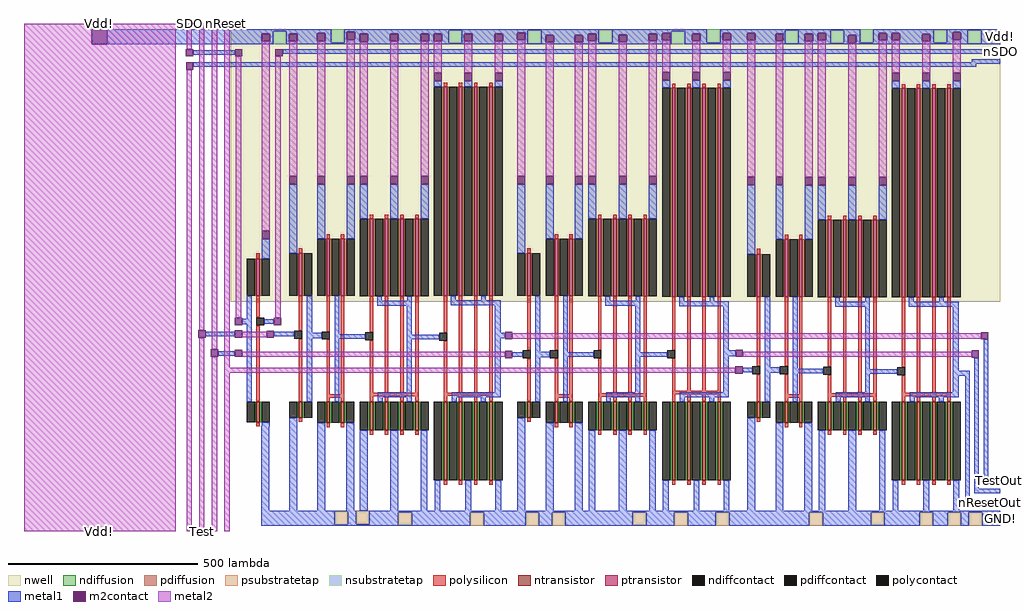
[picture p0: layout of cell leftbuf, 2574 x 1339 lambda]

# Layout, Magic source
magic
tech tsmc180
<< nwell >>
rect 545 605 2574 1324
<< polysilicon >>
rect 1107 1172 1116 1183
rect 1147 1172 1156 1183
rect 1187 1172 1196 1183
rect 1227 1172 1236 1183
rect 912 824 921 835
rect 952 824 961 835
rect 992 824 1001 835
rect 1032 824 1041 835
rect 798 772 807 784
rect 836 772 845 784
rect 725 733 734 747
rect 613 719 622 733
rect 613 564 622 621
rect 613 342 622 543
rect 725 529 734 621
rect 798 527 807 621
rect 725 342 734 508
rect 798 361 807 506
rect 836 361 845 621
rect 1709 1170 1718 1181
rect 1749 1170 1758 1181
rect 1789 1170 1798 1181
rect 1829 1170 1838 1181
rect 1514 824 1523 835
rect 1554 824 1563 835
rect 1594 824 1603 835
rect 1634 824 1643 835
rect 1400 772 1409 784
rect 1438 772 1447 784
rect 1327 733 1336 747
rect 912 525 921 620
rect 798 352 845 361
rect 798 342 807 352
rect 836 342 845 352
rect 912 365 921 504
rect 952 365 961 620
rect 992 365 1001 620
rect 1032 365 1041 620
rect 1107 524 1116 621
rect 912 356 1041 365
rect 912 342 921 356
rect 952 342 961 356
rect 992 342 1001 356
rect 1032 342 1041 356
rect 1107 366 1116 503
rect 1147 366 1156 621
rect 1187 366 1196 621
rect 1227 366 1236 621
rect 1327 477 1336 621
rect 1400 477 1409 621
rect 1107 357 1236 366
rect 1107 342 1116 357
rect 1147 342 1156 357
rect 1187 342 1196 357
rect 1227 342 1236 357
rect 1327 342 1336 456
rect 1400 361 1409 456
rect 1438 361 1447 621
rect 1514 477 1523 620
rect 1400 352 1447 361
rect 1400 342 1409 352
rect 1438 342 1447 352
rect 1514 364 1523 456
rect 1554 364 1563 620
rect 1594 364 1603 620
rect 1634 364 1643 620
rect 2315 1168 2324 1179
rect 2355 1168 2364 1179
rect 2395 1168 2404 1179
rect 2435 1168 2444 1179
rect 2120 822 2129 833
rect 2160 822 2169 833
rect 2200 822 2209 833
rect 2240 822 2249 833
rect 2006 770 2015 782
rect 2044 770 2053 782
rect 1933 731 1942 745
rect 1709 478 1718 619
rect 1514 355 1643 364
rect 1514 342 1523 355
rect 1554 342 1563 355
rect 1594 342 1603 355
rect 1634 342 1643 355
rect 1709 371 1718 457
rect 1749 371 1758 619
rect 1789 371 1798 619
rect 1829 371 1838 619
rect 1933 436 1942 619
rect 2006 436 2015 619
rect 1709 362 1838 371
rect 1709 342 1718 362
rect 1749 342 1758 362
rect 1789 342 1798 362
rect 1829 342 1838 362
rect 1933 342 1942 415
rect 2006 361 2015 415
rect 2044 361 2053 619
rect 2120 434 2129 618
rect 2006 352 2053 361
rect 2006 342 2015 352
rect 2044 342 2053 352
rect 2120 364 2129 413
rect 2160 364 2169 618
rect 2200 364 2209 618
rect 2240 364 2249 618
rect 2315 433 2324 617
rect 2120 355 2249 364
rect 2120 342 2129 355
rect 2160 342 2169 355
rect 2200 342 2209 355
rect 2240 342 2249 355
rect 2315 365 2324 412
rect 2355 365 2364 617
rect 2395 365 2404 617
rect 2435 365 2444 617
rect 2315 356 2444 365
rect 2315 342 2324 356
rect 2355 342 2364 356
rect 2395 342 2404 356
rect 2435 342 2444 356
rect 725 289 734 300
rect 613 277 622 288
rect 798 275 807 286
rect 836 275 845 286
rect 912 255 921 266
rect 952 255 961 266
rect 992 255 1001 266
rect 1032 255 1041 266
rect 1327 289 1336 300
rect 1400 275 1409 286
rect 1438 275 1447 286
rect 1514 255 1523 266
rect 1554 255 1563 266
rect 1594 255 1603 266
rect 1634 255 1643 266
rect 1933 289 1942 300
rect 2006 275 2015 286
rect 2044 275 2053 286
rect 2120 255 2129 266
rect 2160 255 2169 266
rect 2200 255 2209 266
rect 2240 255 2249 266
rect 1107 123 1116 135
rect 1147 123 1156 135
rect 1187 123 1196 135
rect 1227 123 1236 135
rect 1709 123 1718 135
rect 1749 123 1758 135
rect 1789 123 1798 135
rect 1829 123 1838 135
rect 2315 123 2324 135
rect 2355 123 2364 135
rect 2395 123 2404 135
rect 2435 123 2444 135
<< ndiffusion >>
rect 608 288 613 342
rect 622 288 627 342
rect 720 300 725 342
rect 734 300 739 342
rect 795 286 798 342
rect 807 286 811 342
rect 832 286 836 342
rect 845 286 850 342
rect 907 266 912 342
rect 921 266 926 342
rect 947 266 952 342
rect 961 266 966 342
rect 987 266 992 342
rect 1001 266 1006 342
rect 1027 266 1032 342
rect 1041 266 1046 342
rect 1102 135 1107 342
rect 1116 135 1121 342
rect 1142 135 1147 342
rect 1156 135 1161 342
rect 1182 135 1187 342
rect 1196 135 1201 342
rect 1222 135 1227 342
rect 1236 135 1241 342
rect 1322 300 1327 342
rect 1336 300 1341 342
rect 1397 286 1400 342
rect 1409 286 1413 342
rect 1434 286 1438 342
rect 1447 286 1452 342
rect 1509 266 1514 342
rect 1523 266 1528 342
rect 1549 266 1554 342
rect 1563 266 1568 342
rect 1589 266 1594 342
rect 1603 266 1608 342
rect 1629 266 1634 342
rect 1643 266 1648 342
rect 1704 135 1709 342
rect 1718 135 1723 342
rect 1744 135 1749 342
rect 1758 135 1763 342
rect 1784 135 1789 342
rect 1798 135 1803 342
rect 1824 135 1829 342
rect 1838 135 1843 342
rect 1928 300 1933 342
rect 1942 300 1947 342
rect 2003 286 2006 342
rect 2015 286 2019 342
rect 2040 286 2044 342
rect 2053 286 2058 342
rect 2115 266 2120 342
rect 2129 266 2134 342
rect 2155 266 2160 342
rect 2169 266 2174 342
rect 2195 266 2200 342
rect 2209 266 2214 342
rect 2235 266 2240 342
rect 2249 266 2254 342
rect 2310 135 2315 342
rect 2324 135 2329 342
rect 2350 135 2355 342
rect 2364 135 2369 342
rect 2390 135 2395 342
rect 2404 135 2409 342
rect 2430 135 2435 342
rect 2444 135 2449 342
<< pdiffusion >>
rect 608 621 613 719
rect 622 621 627 719
rect 720 621 725 733
rect 734 621 739 733
rect 795 621 798 772
rect 807 621 811 772
rect 832 621 836 772
rect 845 621 851 772
rect 907 620 912 824
rect 921 620 926 824
rect 947 620 952 824
rect 961 620 966 824
rect 987 620 992 824
rect 1001 620 1006 824
rect 1027 620 1032 824
rect 1041 620 1046 824
rect 1102 621 1107 1172
rect 1116 621 1121 1172
rect 1142 621 1147 1172
rect 1156 621 1161 1172
rect 1182 621 1187 1172
rect 1196 621 1201 1172
rect 1222 621 1227 1172
rect 1236 621 1241 1172
rect 1322 621 1327 733
rect 1336 621 1341 733
rect 1397 621 1400 772
rect 1409 621 1413 772
rect 1434 621 1438 772
rect 1447 621 1453 772
rect 1509 620 1514 824
rect 1523 620 1528 824
rect 1549 620 1554 824
rect 1563 620 1568 824
rect 1589 620 1594 824
rect 1603 620 1608 824
rect 1629 620 1634 824
rect 1643 620 1648 824
rect 1704 619 1709 1170
rect 1718 619 1723 1170
rect 1744 619 1749 1170
rect 1758 619 1763 1170
rect 1784 619 1789 1170
rect 1798 619 1803 1170
rect 1824 619 1829 1170
rect 1838 619 1843 1170
rect 1928 619 1933 731
rect 1942 619 1947 731
rect 2003 619 2006 770
rect 2015 619 2019 770
rect 2040 619 2044 770
rect 2053 619 2059 770
rect 2115 618 2120 822
rect 2129 618 2134 822
rect 2155 618 2160 822
rect 2169 618 2174 822
rect 2195 618 2200 822
rect 2209 618 2214 822
rect 2235 618 2240 822
rect 2249 618 2254 822
rect 2310 617 2315 1168
rect 2324 617 2329 1168
rect 2350 617 2355 1168
rect 2364 617 2369 1168
rect 2390 617 2395 1168
rect 2404 617 2409 1168
rect 2430 617 2435 1168
rect 2444 617 2449 1168
<< ntransistor >>
rect 613 288 622 342
rect 725 300 734 342
rect 798 286 807 342
rect 836 286 845 342
rect 912 266 921 342
rect 952 266 961 342
rect 992 266 1001 342
rect 1032 266 1041 342
rect 1107 135 1116 342
rect 1147 135 1156 342
rect 1187 135 1196 342
rect 1227 135 1236 342
rect 1327 300 1336 342
rect 1400 286 1409 342
rect 1438 286 1447 342
rect 1514 266 1523 342
rect 1554 266 1563 342
rect 1594 266 1603 342
rect 1634 266 1643 342
rect 1709 135 1718 342
rect 1749 135 1758 342
rect 1789 135 1798 342
rect 1829 135 1838 342
rect 1933 300 1942 342
rect 2006 286 2015 342
rect 2044 286 2053 342
rect 2120 266 2129 342
rect 2160 266 2169 342
rect 2200 266 2209 342
rect 2240 266 2249 342
rect 2315 135 2324 342
rect 2355 135 2364 342
rect 2395 135 2404 342
rect 2435 135 2444 342
<< ptransistor >>
rect 613 621 622 719
rect 725 621 734 733
rect 798 621 807 772
rect 836 621 845 772
rect 912 620 921 824
rect 952 620 961 824
rect 992 620 1001 824
rect 1032 620 1041 824
rect 1107 621 1116 1172
rect 1147 621 1156 1172
rect 1187 621 1196 1172
rect 1227 621 1236 1172
rect 1327 621 1336 733
rect 1400 621 1409 772
rect 1438 621 1447 772
rect 1514 620 1523 824
rect 1554 620 1563 824
rect 1594 620 1603 824
rect 1634 620 1643 824
rect 1709 619 1718 1170
rect 1749 619 1758 1170
rect 1789 619 1798 1170
rect 1829 619 1838 1170
rect 1933 619 1942 731
rect 2006 619 2015 770
rect 2044 619 2053 770
rect 2120 618 2129 822
rect 2160 618 2169 822
rect 2200 618 2209 822
rect 2240 618 2249 822
rect 2315 617 2324 1168
rect 2355 617 2364 1168
rect 2395 617 2404 1168
rect 2435 617 2444 1168
<< polycontact >>
rect 613 543 634 564
rect 713 508 734 529
rect 785 506 807 527
rect 900 504 921 525
rect 1095 503 1116 524
rect 1315 456 1336 477
rect 1387 456 1409 477
rect 1502 456 1523 477
rect 1697 457 1718 478
rect 1921 415 1942 436
rect 1993 415 2015 436
rect 2108 413 2129 434
rect 2303 412 2324 433
<< ndiffcontact >>
rect 587 288 608 342
rect 627 288 648 342
rect 699 300 720 342
rect 739 300 760 342
rect 774 286 795 342
rect 811 286 832 342
rect 850 286 871 342
rect 886 266 907 342
rect 926 266 947 342
rect 966 266 987 342
rect 1006 266 1027 342
rect 1046 266 1067 342
rect 1081 135 1102 342
rect 1121 135 1142 342
rect 1161 135 1182 342
rect 1201 135 1222 342
rect 1241 135 1262 342
rect 1301 300 1322 342
rect 1341 300 1362 342
rect 1376 286 1397 342
rect 1413 286 1434 342
rect 1452 286 1473 342
rect 1488 266 1509 342
rect 1528 266 1549 342
rect 1568 266 1589 342
rect 1608 266 1629 342
rect 1648 266 1669 342
rect 1683 135 1704 342
rect 1723 135 1744 342
rect 1763 135 1784 342
rect 1803 135 1824 342
rect 1843 135 1864 342
rect 1907 300 1928 342
rect 1947 300 1968 342
rect 1982 286 2003 342
rect 2019 286 2040 342
rect 2058 286 2079 342
rect 2094 266 2115 342
rect 2134 266 2155 342
rect 2174 266 2195 342
rect 2214 266 2235 342
rect 2254 266 2275 342
rect 2289 135 2310 342
rect 2329 135 2350 342
rect 2369 135 2390 342
rect 2409 135 2430 342
rect 2449 135 2470 342
<< pdiffcontact >>
rect 587 621 608 719
rect 627 621 648 719
rect 699 621 720 733
rect 739 621 760 733
rect 774 621 795 772
rect 811 621 832 772
rect 851 621 872 772
rect 886 620 907 824
rect 926 620 947 824
rect 966 620 987 824
rect 1006 620 1027 824
rect 1046 620 1067 824
rect 1081 621 1102 1172
rect 1121 621 1142 1172
rect 1161 621 1182 1172
rect 1201 621 1222 1172
rect 1241 621 1262 1172
rect 1301 621 1322 733
rect 1341 621 1362 733
rect 1376 621 1397 772
rect 1413 621 1434 772
rect 1453 621 1474 772
rect 1488 620 1509 824
rect 1528 620 1549 824
rect 1568 620 1589 824
rect 1608 620 1629 824
rect 1648 620 1669 824
rect 1683 619 1704 1170
rect 1723 619 1744 1170
rect 1763 619 1784 1170
rect 1803 619 1824 1170
rect 1843 619 1864 1170
rect 1907 619 1928 731
rect 1947 619 1968 731
rect 1982 619 2003 770
rect 2019 619 2040 770
rect 2059 619 2080 770
rect 2094 618 2115 822
rect 2134 618 2155 822
rect 2174 618 2195 822
rect 2214 618 2235 822
rect 2254 618 2275 822
rect 2289 617 2310 1168
rect 2329 617 2350 1168
rect 2369 617 2390 1168
rect 2409 617 2430 1168
rect 2449 617 2470 1168
<< psubstratetap >>
rect 819 18 854 53
rect 876 19 911 54
rect 987 16 1022 51
rect 1177 15 1212 50
rect 1323 15 1358 50
rect 1393 15 1428 50
rect 1606 16 1641 51
rect 1715 15 1750 50
rect 1825 15 1860 50
rect 2071 15 2106 50
rect 2234 16 2269 51
rect 2362 15 2397 50
rect 2436 15 2471 50
rect 2492 15 2527 50
<< nsubstratetap >>
rect 657 1284 692 1319
rect 810 1289 845 1324
rect 1120 1287 1155 1322
rect 1329 1286 1364 1321
rect 1516 1288 1551 1323
rect 1707 1284 1742 1319
rect 1801 1289 1836 1324
rect 2007 1286 2042 1321
rect 2127 1287 2162 1322
rect 2205 1289 2240 1324
rect 2399 1288 2434 1323
rect 2489 1286 2524 1321
<< metal1 >>
rect 219 1319 810 1324
rect 219 1313 657 1319
rect 219 1292 627 1313
rect 648 1292 657 1313
rect 219 1284 657 1292
rect 692 1314 810 1319
rect 692 1313 774 1314
rect 692 1292 699 1313
rect 720 1293 774 1313
rect 795 1293 810 1314
rect 720 1292 810 1293
rect 692 1289 810 1292
rect 845 1323 1801 1324
rect 845 1322 1516 1323
rect 845 1317 1120 1322
rect 845 1296 851 1317
rect 872 1313 1120 1317
rect 872 1312 966 1313
rect 872 1296 886 1312
rect 845 1291 886 1296
rect 907 1292 966 1312
rect 987 1292 1046 1313
rect 1067 1292 1081 1313
rect 1102 1292 1120 1313
rect 907 1291 1120 1292
rect 845 1289 1120 1291
rect 692 1287 1120 1289
rect 1155 1321 1516 1322
rect 1155 1315 1329 1321
rect 1155 1313 1301 1315
rect 1155 1292 1161 1313
rect 1182 1292 1241 1313
rect 1262 1296 1301 1313
rect 1322 1296 1329 1315
rect 1262 1292 1329 1296
rect 1155 1287 1329 1292
rect 692 1286 1329 1287
rect 1364 1313 1516 1321
rect 1364 1309 1488 1313
rect 1364 1290 1376 1309
rect 1397 1290 1453 1309
rect 1474 1294 1488 1309
rect 1509 1294 1516 1313
rect 1474 1290 1516 1294
rect 1364 1288 1516 1290
rect 1551 1319 1801 1323
rect 1551 1314 1707 1319
rect 1551 1313 1683 1314
rect 1551 1310 1648 1313
rect 1551 1291 1568 1310
rect 1589 1294 1648 1310
rect 1669 1295 1683 1313
rect 1704 1295 1707 1314
rect 1669 1294 1707 1295
rect 1589 1291 1707 1294
rect 1551 1288 1707 1291
rect 1364 1286 1707 1288
rect 692 1284 1707 1286
rect 1742 1313 1801 1319
rect 1742 1294 1763 1313
rect 1784 1294 1801 1313
rect 1742 1289 1801 1294
rect 1836 1322 2205 1324
rect 1836 1321 2127 1322
rect 1836 1314 2007 1321
rect 1836 1295 1843 1314
rect 1864 1295 1907 1314
rect 1928 1313 2007 1314
rect 1928 1295 1982 1313
rect 1836 1294 1982 1295
rect 2003 1294 2007 1313
rect 1836 1289 2007 1294
rect 1742 1286 2007 1289
rect 2042 1314 2127 1321
rect 2042 1312 2094 1314
rect 2042 1293 2059 1312
rect 2080 1295 2094 1312
rect 2115 1295 2127 1314
rect 2080 1293 2127 1295
rect 2042 1287 2127 1293
rect 2162 1308 2205 1322
rect 2162 1289 2174 1308
rect 2195 1289 2205 1308
rect 2240 1323 2574 1324
rect 2240 1314 2399 1323
rect 2240 1295 2254 1314
rect 2275 1295 2289 1314
rect 2310 1311 2399 1314
rect 2310 1295 2369 1311
rect 2240 1292 2369 1295
rect 2390 1292 2399 1311
rect 2240 1289 2399 1292
rect 2162 1288 2399 1289
rect 2434 1321 2574 1323
rect 2434 1316 2489 1321
rect 2434 1297 2449 1316
rect 2470 1297 2489 1316
rect 2434 1288 2489 1297
rect 2162 1287 2489 1288
rect 2042 1286 2489 1287
rect 2524 1286 2574 1321
rect 1742 1284 2574 1286
rect 446 1257 557 1269
rect 682 1260 2574 1272
rect 2500 1237 2574 1245
rect 447 1233 2574 1237
rect 447 1225 2512 1233
rect 1081 1172 1102 1189
rect 1161 1172 1182 1189
rect 1241 1172 1262 1189
rect 627 719 648 772
rect 699 733 720 916
rect 774 772 795 916
rect 851 772 872 915
rect 886 824 907 915
rect 966 824 987 915
rect 1046 824 1067 915
rect 587 561 601 621
rect 575 546 601 561
rect 479 515 556 527
rect 512 463 556 475
rect 587 342 601 546
rect 634 547 659 559
rect 659 514 713 526
rect 746 524 760 621
rect 746 509 785 524
rect 746 342 760 509
rect 820 520 832 621
rect 1683 1170 1704 1190
rect 1763 1170 1784 1190
rect 1843 1170 1864 1190
rect 1301 733 1322 916
rect 1376 772 1397 916
rect 1453 772 1474 915
rect 1488 824 1509 915
rect 1568 824 1589 915
rect 1648 824 1669 915
rect 931 608 944 620
rect 1011 608 1023 620
rect 931 595 1023 608
rect 1126 609 1139 621
rect 1206 609 1218 621
rect 1126 596 1257 609
rect 820 508 900 520
rect 820 342 832 508
rect 1010 519 1023 595
rect 1242 524 1257 596
rect 1010 507 1095 519
rect 1010 367 1023 507
rect 1242 509 1269 524
rect 1242 367 1257 509
rect 1288 460 1315 472
rect 1348 474 1362 621
rect 1348 459 1387 474
rect 933 354 1023 367
rect 933 342 946 354
rect 1010 342 1023 354
rect 1128 354 1257 367
rect 1128 342 1141 354
rect 1205 342 1218 354
rect 1348 342 1362 459
rect 1422 472 1434 621
rect 1533 608 1546 620
rect 1613 608 1625 620
rect 2289 1168 2310 1188
rect 2369 1168 2390 1188
rect 2449 1168 2470 1188
rect 1907 731 1928 914
rect 1982 770 2003 914
rect 2059 770 2080 913
rect 2094 822 2115 913
rect 2174 822 2195 913
rect 2254 822 2275 913
rect 1533 595 1625 608
rect 1422 460 1502 472
rect 1422 342 1434 460
rect 1612 473 1625 595
rect 1728 607 1741 619
rect 1808 607 1820 619
rect 1728 594 1859 607
rect 1612 461 1697 473
rect 1612 367 1625 461
rect 1844 477 1859 594
rect 1844 462 1877 477
rect 1844 367 1859 462
rect 1895 419 1921 431
rect 1954 433 1968 619
rect 1954 418 1993 433
rect 1535 354 1625 367
rect 1535 342 1548 354
rect 1612 342 1625 354
rect 1730 354 1859 367
rect 1730 342 1743 354
rect 1807 342 1820 354
rect 1954 342 1968 418
rect 2028 429 2040 619
rect 2139 606 2152 618
rect 2219 606 2231 618
rect 2139 593 2231 606
rect 2028 417 2108 429
rect 2028 342 2040 417
rect 2218 428 2231 593
rect 2334 605 2347 617
rect 2414 605 2426 617
rect 2334 592 2465 605
rect 2218 416 2303 428
rect 2218 367 2231 416
rect 2450 423 2465 592
rect 2450 411 2494 423
rect 2450 367 2465 411
rect 2141 354 2231 367
rect 2141 342 2154 354
rect 2218 342 2231 354
rect 2336 354 2465 367
rect 2336 342 2349 354
rect 2413 342 2426 354
rect 627 277 648 288
rect 626 55 647 277
rect 699 55 720 300
rect 774 55 795 286
rect 850 55 871 286
rect 886 55 907 266
rect 966 55 987 266
rect 1047 55 1064 266
rect 1083 55 1098 135
rect 1164 55 1179 135
rect 1242 134 1258 135
rect 1243 55 1258 134
rect 1301 55 1322 300
rect 1376 55 1397 286
rect 1452 55 1473 286
rect 1490 55 1507 266
rect 1568 55 1589 266
rect 1649 55 1666 266
rect 1685 55 1700 135
rect 1766 55 1781 135
rect 1844 134 1860 135
rect 1845 55 1860 134
rect 1907 55 1928 300
rect 1982 55 2003 286
rect 2058 55 2079 286
rect 2096 55 2113 266
rect 2174 55 2195 266
rect 2255 55 2272 266
rect 2291 55 2306 135
rect 2372 55 2387 135
rect 2450 134 2466 135
rect 2451 55 2466 134
rect 2482 83 2494 411
rect 2506 112 2518 458
rect 2531 141 2543 506
rect 2531 129 2574 141
rect 2506 100 2574 112
rect 2482 71 2574 83
rect 626 54 2574 55
rect 626 53 876 54
rect 626 18 819 53
rect 854 19 876 53
rect 911 51 2574 54
rect 911 19 987 51
rect 854 18 987 19
rect 626 16 987 18
rect 1022 50 1606 51
rect 1022 16 1177 50
rect 626 15 1177 16
rect 1212 15 1323 50
rect 1358 15 1393 50
rect 1428 16 1606 50
rect 1641 50 2234 51
rect 1641 16 1715 50
rect 1428 15 1715 16
rect 1750 15 1825 50
rect 1860 15 2071 50
rect 2106 16 2234 50
rect 2269 50 2574 51
rect 2269 16 2362 50
rect 2106 15 2362 16
rect 2397 15 2436 50
rect 2471 15 2492 50
rect 2527 15 2574 50
<< m2contact >>
rect 179 1284 219 1324
rect 627 1292 648 1313
rect 699 1292 720 1313
rect 774 1293 795 1314
rect 851 1296 872 1317
rect 886 1291 907 1312
rect 966 1292 987 1313
rect 1046 1292 1067 1313
rect 1081 1292 1102 1313
rect 1161 1292 1182 1313
rect 1241 1292 1262 1313
rect 1301 1296 1322 1315
rect 1376 1290 1397 1309
rect 1453 1290 1474 1309
rect 1488 1294 1509 1313
rect 1568 1291 1589 1310
rect 1648 1294 1669 1313
rect 1683 1295 1704 1314
rect 1763 1294 1784 1313
rect 1843 1295 1864 1314
rect 1907 1295 1928 1314
rect 1982 1294 2003 1313
rect 2059 1293 2080 1312
rect 2094 1295 2115 1314
rect 2174 1289 2195 1308
rect 2254 1295 2275 1314
rect 2289 1295 2310 1314
rect 2369 1292 2390 1311
rect 2449 1297 2470 1316
rect 427 1253 446 1272
rect 557 1253 576 1272
rect 663 1253 682 1272
rect 428 1218 447 1237
rect 1081 1189 1102 1210
rect 1161 1189 1182 1210
rect 1241 1189 1262 1210
rect 699 916 720 937
rect 627 772 648 793
rect 774 916 795 937
rect 851 915 872 936
rect 886 915 907 936
rect 966 915 987 936
rect 1046 915 1067 936
rect 556 544 575 563
rect 460 511 479 530
rect 556 511 575 530
rect 493 461 512 480
rect 556 460 575 479
rect 659 544 678 563
rect 640 510 659 529
rect 1683 1190 1704 1211
rect 1763 1190 1784 1211
rect 1843 1190 1864 1211
rect 1301 916 1322 937
rect 1376 916 1397 937
rect 1453 915 1474 936
rect 1488 915 1509 936
rect 1568 915 1589 936
rect 1648 915 1669 936
rect 1269 507 1288 526
rect 1269 457 1288 476
rect 2289 1188 2310 1209
rect 2369 1188 2390 1209
rect 2449 1188 2470 1209
rect 1907 914 1928 935
rect 1982 914 2003 935
rect 2059 913 2080 934
rect 2094 913 2115 934
rect 2174 913 2195 934
rect 2254 913 2275 934
rect 1877 460 1896 479
rect 1876 416 1895 435
rect 2524 506 2543 525
rect 2499 458 2518 477
<< metal2 >>
rect 0 1324 400 1339
rect 0 1284 179 1324
rect 219 1284 400 1324
rect 0 0 400 1284
rect 429 1272 443 1339
rect 429 0 443 1218
rect 462 530 476 1339
rect 462 0 476 511
rect 495 480 509 1339
rect 495 0 509 461
rect 528 432 542 1339
rect 559 563 573 1253
rect 627 793 648 1292
rect 663 563 677 1253
rect 699 937 720 1292
rect 774 937 795 1293
rect 851 936 872 1296
rect 886 936 907 1291
rect 966 936 987 1292
rect 1046 936 1067 1292
rect 1081 1210 1102 1292
rect 1161 1210 1182 1292
rect 1241 1210 1262 1292
rect 1301 937 1322 1296
rect 1376 937 1397 1290
rect 1453 936 1474 1290
rect 1488 936 1509 1294
rect 1568 936 1589 1291
rect 1648 936 1669 1294
rect 1683 1211 1704 1295
rect 1763 1211 1784 1294
rect 1843 1211 1864 1295
rect 1907 935 1928 1295
rect 1982 935 2003 1294
rect 2059 934 2080 1293
rect 2094 934 2115 1295
rect 2174 934 2195 1289
rect 2254 934 2275 1295
rect 2289 1209 2310 1295
rect 2369 1209 2390 1292
rect 2449 1209 2470 1297
rect 575 512 640 526
rect 1288 508 2524 522
rect 575 460 1269 474
rect 1896 460 2499 474
rect 528 418 1876 432
rect 528 0 542 418
<< labels >>
rlabel metal2 0 0 400 0 1 Vdd!
rlabel metal2 462 0 476 0 1 Test
rlabel metal2 495 0 509 0 1 Clock
rlabel metal2 528 0 542 0 1 nReset
rlabel metal2 429 0 443 0 1 SDI
rlabel metal2 0 1339 400 1339 5 Vdd!
rlabel metal2 429 1339 443 1339 5 SDO
rlabel metal2 495 1339 509 1339 5 Clock
rlabel metal2 462 1339 476 1339 5 Test
rlabel metal2 528 1339 542 1339 5 nReset
rlabel metal1 2574 15 2574 55 7 GND!
rlabel metal1 2574 129 2574 141 7 TestOut
rlabel metal1 2574 100 2574 112 7 ClockOut
rlabel metal1 2574 71 2574 83 7 nResetOut
rlabel metal1 2574 1284 2574 1324 7 Vdd!
rlabel metal1 2574 1260 2574 1272 7 nSDO
rlabel metal1 2574 1233 2574 1245 7 SDI
<< end >>
